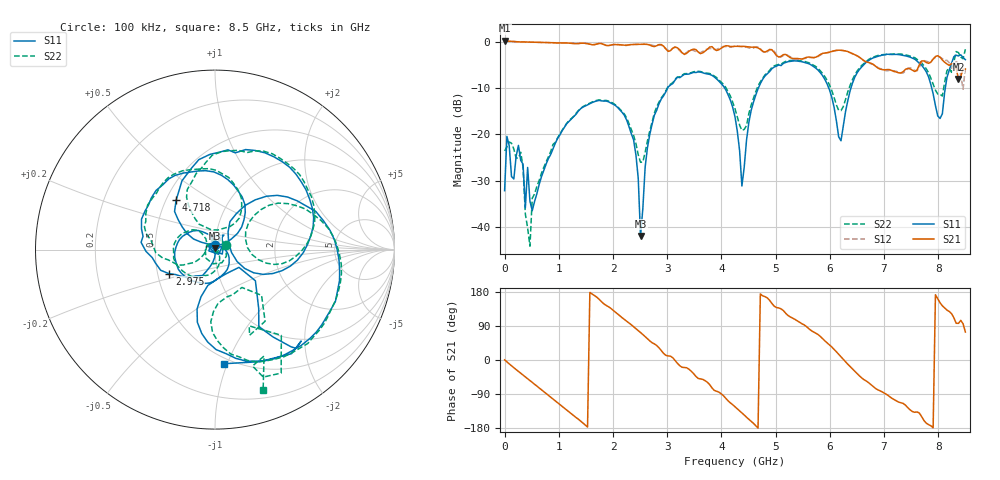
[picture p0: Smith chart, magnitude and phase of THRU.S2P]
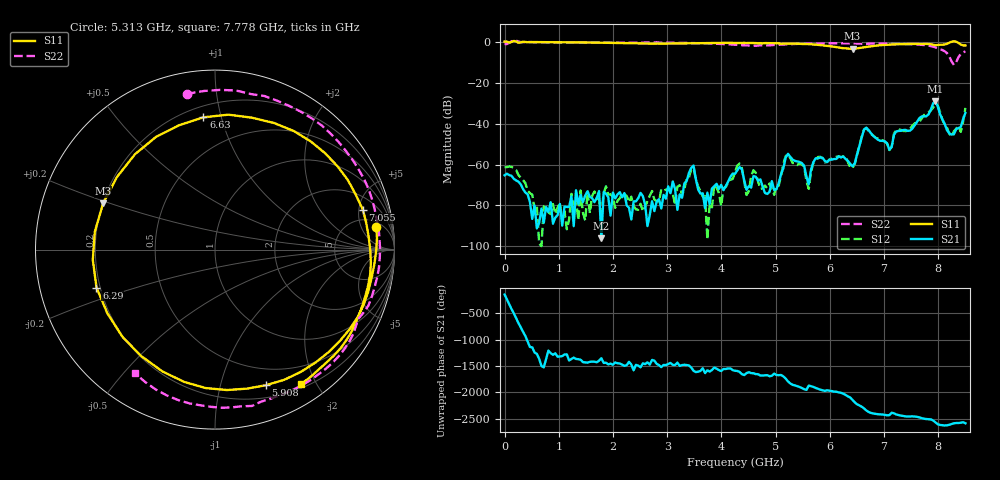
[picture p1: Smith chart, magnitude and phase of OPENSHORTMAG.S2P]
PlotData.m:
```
tline = sparameters('THRU.S2P');
reflect = sparameters('OPENSHORTMAG.S2P');
phaseref = sparameters('OPENSHORTPHASE.S2P');

figure();
rfplot(tline);


figure();
rfplot(reflect);

figure();
rfplot(phaseref);
```
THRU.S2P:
!Agilent Technologies,E5071C,MY46101104,A.08.01
!Date: Mon Jan 01 00:32:46 2001
!Data & Calibration Information:
!Freq	S11:SOLT2(ON)	S21:SOLT2(ON)	S12:SOLT2(ON)	S22:SOLT2(ON)
# Hz S dB R 50
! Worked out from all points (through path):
!   201 points, 100 kHz to 8.5 GHz, reference 50 ohm
!   highest |S21| = 0.17 dB at 100 kHz (marker M1); lowest = -8.0 dB at 8.373 GHz (marker M2)
!   group delay of S21, straight-line fit = 320 ps
!   lowest |S11| = -42.0 dB at 2.508 GHz (marker M3), VSWR 1.02, Z = 49.9 + j0.787 ohm
!   |S11| at or under -10 dB: start of sweep to 3.009 GHz; 4.058 GHz to 4.682 GHz (623.9 MHz wide, 14.3 % of centre); 5.979 GHz to 6.389 GHz (410.6 MHz wide, 6.64 % of centre)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
!   |S22| runs from -44.1 to -1.6 dB; largest |S21 - S12| = 0.24
!   S11 on the Smith chart (normalised r, x): 100 kHz: 1.00, +0.05; 2.975 GHz: 0.58, -0.17; 4.718 GHz: 0.56, +0.36; 8.5 GHz: 0.45, -0.97
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100000  -32.18 85.0  0.17 0.3  0.24 1.9  -23.58 25.1
4.675945e8  -34.45 132.4  -0.12 -54.2  -0.12 -54.2  -44.14 -46.7
1.445083e9  -14.14 -106.5  -0.35 -166.3  -0.34 -166.3  -14.04 -131.7
2.252574e9  -16.96 131.4  -0.77 102.7  -0.83 103.2  -16.50 133.4
2.50757e9  -41.95 98.9  -0.58 72.6  -0.59 72.7  -26.05 158.5
2.975065e9  -10.81 -152.2  -1.61 12.2  -1.52 13.2  -10.61 -170.8
4.25005e9  -16.24 35.7  -1.02 -123.4  -0.96 -123.2  -14.49 52.8
4.717544e9  -9.07 127.9  -1.67 174.3  -1.52 173.8  -8.68 114.8
6.205027e9  -21.41 27.0  -1.87 8.4  -1.89 8.5  -14.90 19.2
8.372502e9  -3.10 -46.7  -8.05 96.6  -4.66 90.6  -2.39 -69.3
8.5e9  -3.91 -85.4  -5.95 73.6  -5.60 100.8  -1.65 -71.1
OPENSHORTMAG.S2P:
!Agilent Technologies,E5071C,MY46101104,A.08.01
!Date: Mon Jan 01 00:41:27 2001
!Data & Calibration Information:
!Freq	S11:SOLT2(ON)	S21:SOLT2(ON)	S12:SOLT2(ON)	S22:SOLT2(ON)
# Hz S dB R 50
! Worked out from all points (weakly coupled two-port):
!   201 points, 100 kHz to 8.5 GHz, reference 50 ohm
!   highest |S21| = -29.09 dB at 7.948 GHz (marker M1); lowest = -96.1 dB at 1.785 GHz (marker M2)
!   lowest |S11| = -3.4 dB at 6.418 GHz (marker M3), VSWR 5.14, Z = 10.1 + j9.52 ohm
!   |S11| at or under -10 dB: nowhere
!   |S22| runs from -11.3 to 0.7 dB; largest |S21 - S12| = 0.0076
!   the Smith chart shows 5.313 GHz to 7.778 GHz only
!   S11 on the Smith chart (normalised r, x): 5.313 GHz: 7, +10; 5.908 GHz: 0.32, -1.39; 6.29 GHz: 0.19, -0.15; 6.63 GHz: 0.27, +0.88; 7.055 GHz: 3.39, +5.53; 7.778 GHz: 0.25, -1.80
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100000  0.13 -5.0  -65.25 -146.2  -61.21 -39.0  -1.11 -178.6
1.785079e9  -0.42 120.1  -96.09 88.1  -83.57 24.7  -0.39 -87.7
4.25005e9  -0.56 108.1  -64.53 -149.8  -63.68 -130.5  -1.40 -33.3
5.312538e9  -0.84 8.1  -57.58 -55.7  -59.24 -62.0  -1.09 100.3
5.90753e9  -1.86 -69.4  -58.26 -170.4  -58.94 -167.5  -0.77 32.9
6.290026e9  -3.18 -162.3  -57.25 113.3  -56.16 113.3  -0.73 0.2
6.417524e9  -3.42 157.6  -60.82 18.2  -61.82 10.7  -0.75 -9.6
6.630022e9  -2.62 95.0  -42.88 -142.8  -42.92 -142.8  -1.05 -26.0
7.055017e9  -1.38 15.1  -49.58 87.2  -49.71 91.3  -0.93 -57.4
7.777508e9  -1.03 -57.4  -36.42 16.7  -34.91 16.6  -1.71 -123.1
7.947506e9  -1.66 -68.2  -29.09 -47.6  -30.55 -40.4  -2.72 -149.0
8.5e9  -1.76 -112.2  -34.74 -64.0  -32.28 -51.6  -4.65 -31.7
